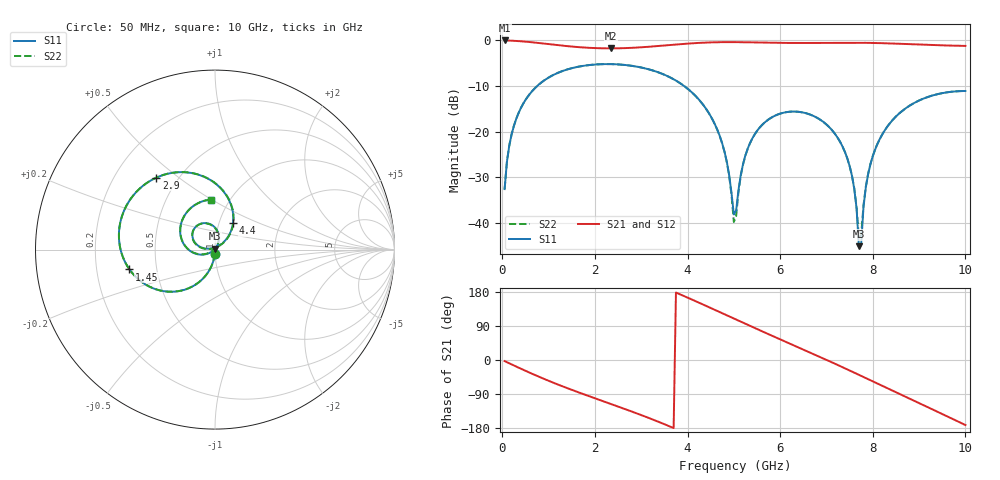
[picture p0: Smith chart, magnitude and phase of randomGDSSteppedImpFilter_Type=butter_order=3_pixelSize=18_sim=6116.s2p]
! freq	dB(S11)	phase(S11)	dB(S12)	phase(S12)
!  dB(S21)	phase(S21)	dB(S22)	phase(S22)
!S-par simulation data
#  GHz  S  DB  R 50
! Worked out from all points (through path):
!   200 points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, 50 MHz to 10 GHz, reference 50 ohm
!   highest |S21| = 0.00 dB at 50 MHz (marker M1); lowest = -1.7 dB at 2.35 GHz (marker M2)
!   group delay of S21, straight-line fit = 147 ps
!   lowest |S11| = -45.0 dB at 7.7 GHz (marker M3), VSWR 1.01, Z = 50.1 + j0.558 ohm
!   |S11| at or under -10 dB: start of sweep to 750.7 MHz; 3.93 GHz to end of sweep
!   |S22| runs from -43.1 to -5.2 dB; largest |S21 - S12| = 0
!   S11 on the Smith chart (normalised r, x): 50 MHz: 1.00, -0.05; 1.45 GHz: 0.35, -0.10; 2.9 GHz: 0.38, +0.42; 4.4 GHz: 1.16, +0.36; 10 GHz: 0.82, +0.50
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0.05  -32.54 -93.0  -0.00 -2.9  -0.00 -2.9  -32.54 -93.0
0.2  -20.60 -102.0  -0.05 -11.6  -0.05 -11.6  -20.60 -102.0
0.45  -13.87 -116.2  -0.22 -25.7  -0.22 -25.7  -13.87 -116.2
1.45  -6.21 -167.0  -1.29 -76.5  -1.29 -76.5  -6.21 -167.0
1.75  -5.56 179.5  -1.54 -90.0  -1.54 -90.0  -5.56 179.5
2.35  -5.18 153.4  -1.74 -116.3  -1.74 -116.3  -5.18 153.3
2.9  -5.73 129.2  -1.56 -140.7  -1.56 -140.7  -5.73 129.1
3.4  -7.10 105.9  -1.19 -164.4  -1.19 -164.4  -7.10 105.7
4.4  -14.97 55.8  -0.47 142.8  -0.47 142.8  -14.98 55.2
4.75  -22.58 41.7  -0.38 123.2  -0.38 123.2  -22.62 40.0
5  -38.11 85.4  -0.37 109.3  -0.37 109.3  -39.72 80.5
5.05  -37.17 139.8  -0.37 106.5  -0.37 106.5  -38.41 146.1
5.2  -27.00 173.2  -0.39 98.2  -0.39 98.2  -27.10 176.2
5.5  -19.81 165.4  -0.44 81.7  -0.44 81.7  -19.82 166.8
6.7  -16.44 104.9  -0.55 16.9  -0.55 16.9  -16.44 105.8
7.45  -25.82 65.4  -0.50 -24.8  -0.50 -24.8  -25.81 68.0
7.6  -32.45 60.6  -0.50 -33.4  -0.50 -33.4  -32.36 65.9
7.7  -45.03 83.9  -0.51 -39.1  -0.51 -39.1  -43.12 99.0
7.95  -27.08 -150.3  -0.54 -53.4  -0.54 -53.4  -27.02 -152.9
8.35  -18.38 -171.1  -0.65 -76.5  -0.65 -76.5  -18.37 -171.9
9.1  -12.71 146.2  -0.94 -119.6  -0.94 -119.6  -12.71 146.0
10  -11.07 94.2  -1.20 -171.7  -1.20 -171.7  -11.07 94.3
